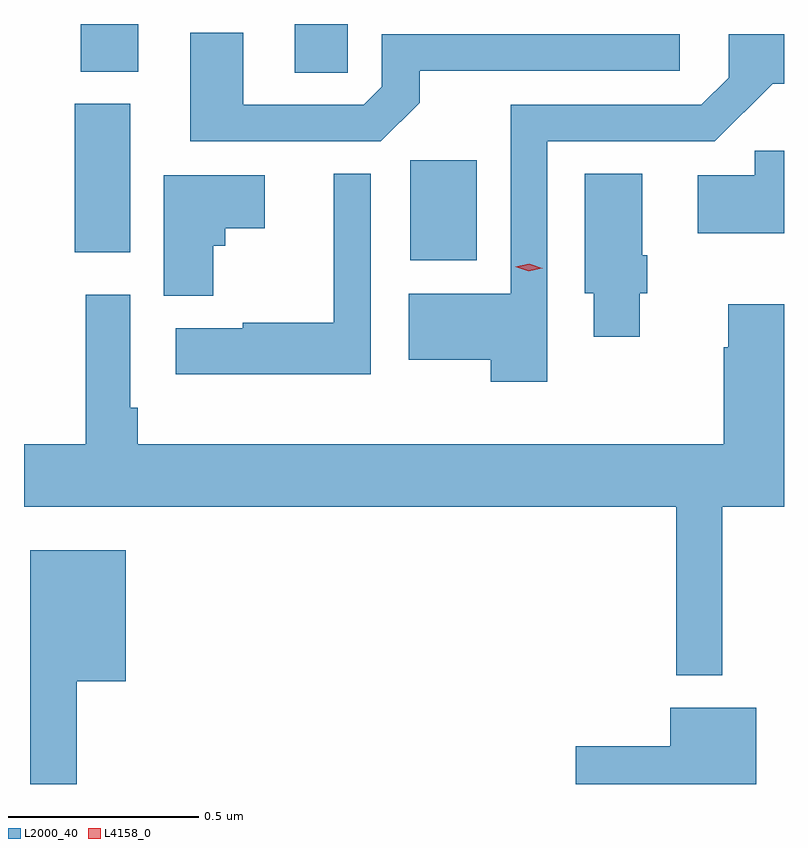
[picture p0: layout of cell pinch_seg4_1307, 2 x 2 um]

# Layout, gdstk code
import gdstk
lib = gdstk.Library(unit=1e-6, precision=1e-09)
def R(c, l, rs):  # rectangles x0, y0, x1, y1
    for r in rs: c.add(gdstk.rectangle(r[:2], r[2:], *l))
def P(c, l, *ps):  # polygons
    for p in ps: c.add(gdstk.Polygon(p, *l))
L2000_40 = (2000, 40)
L4158_0 = (4158, 0)

pinch_seg4_1307 = lib.new_cell('pinch_seg4_1307')
R(pinch_seg4_1307, L2000_40, [(348.938,770.828,349.114,771.092), (348.056,770.849,348.202,771.24), (348.635,771.322,348.774,771.45), (348.071,771.325,348.223,771.45)])
P(pinch_seg4_1307, L2000_40, [(348.963,771.243),(348.963,771.327),(349.648,771.327),(349.648,771.423),(348.864,771.423),(348.864,771.285),(348.816,771.237),(348.499,771.237),(348.499,771.427),(348.359,771.427),(348.359,771.141),(348.861,771.141)],
  [(349.299,771.141),(349.74,771.141),(349.892,771.293),(349.922,771.293),(349.922,771.423),(349.776,771.423),(349.776,771.309),(349.704,771.237),(349.203,771.237),(349.203,770.74),(348.935,770.74),(348.935,770.567),(349.15,770.567),(349.15,770.508),(349.299,770.508)],
  [(349.922,771.117),(349.845,771.117),(349.845,771.052),(349.695,771.052),(349.695,770.9),(349.922,770.9)],
  [(348.834,771.056),(348.737,771.056),(348.737,770.664),(348.498,770.664),(348.498,770.65),(348.321,770.65),(348.321,770.528),(348.834,770.528)],
  [(349.543,770.742),(349.562,770.742),(349.562,770.842),(349.549,770.842),(349.549,771.056),(349.397,771.056),(349.397,770.742),(349.421,770.742),(349.421,770.627),(349.543,770.627)],
  [(348.42,770.867),(348.451,770.867),(348.451,770.912),(348.556,770.912),(348.556,771.052),(348.29,771.052),(348.29,770.735),(348.42,770.735)],
  [(349.759,770.18),(349.922,770.18),(349.922,770.713),(349.775,770.713),(349.775,770.6),(349.763,770.6),(349.763,770.344),(348.221,770.344),(348.221,770.44),(348.201,770.44),(348.201,770.737),(348.085,770.737),(348.085,770.344),(347.922,770.344),(347.922,770.18),(349.638,770.18),(349.638,769.736),(349.759,769.736)],
  [(348.061,769.721),(348.19,769.721),(348.19,770.065),(347.939,770.065),(347.939,769.45),(348.061,769.45)],
  [(349.849,769.651),(349.622,769.651),(349.622,769.55),(349.374,769.55),(349.374,769.45),(349.849,769.45)])
P(pinch_seg4_1307, L4158_0, [(349.25,770.799),(349.215,770.811),(349.215,770.811),(349.215,770.811),(349.251,770.819),(349.286,770.807),(349.287,770.807),(349.286,770.807)])

lib.write_gds('pinch_seg4_1307.gds')
